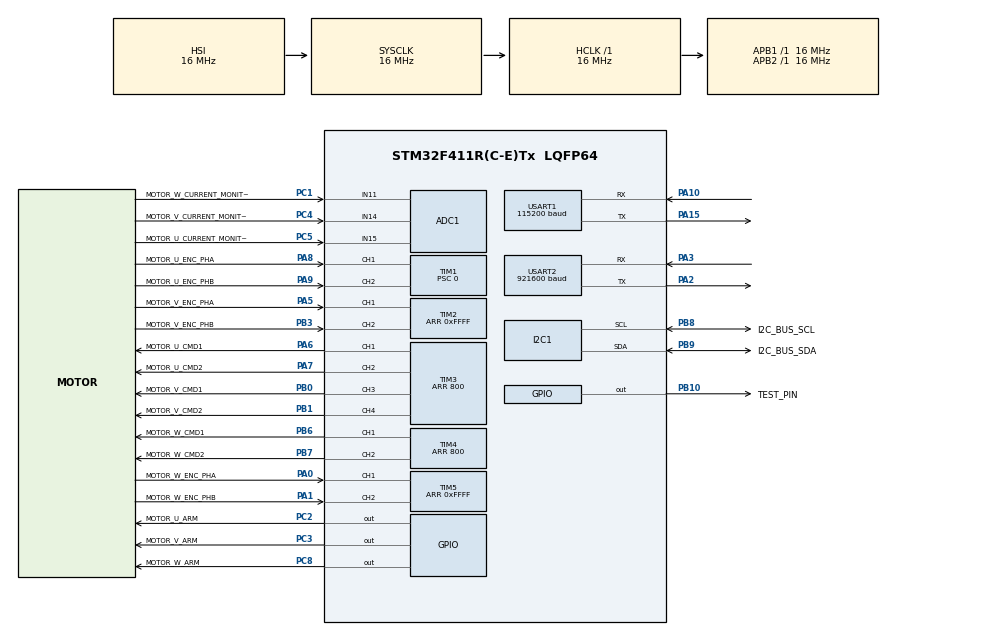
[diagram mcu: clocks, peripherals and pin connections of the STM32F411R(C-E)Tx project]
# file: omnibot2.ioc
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ADC1.Channel-3\#ChannelRegularConversion=ADC_CHANNEL_11
ADC1.Channel-4\#ChannelRegularConversion=ADC_CHANNEL_14
ADC1.Channel-5\#ChannelRegularConversion=ADC_CHANNEL_15
ADC1.DiscontinuousConvMode=ENABLE
ADC1.EnableAnalogWatchDog=true
ADC1.HighThreshold=4095
ADC1.ITMode=ENABLE
ADC1.NbrOfConversion=3
ADC1.NbrOfConversionFlag=1
ADC1.Rank-3\#ChannelRegularConversion=1
ADC1.Rank-4\#ChannelRegularConversion=2
ADC1.Rank-5\#ChannelRegularConversion=3
ADC1.SamplingTime-3\#ChannelRegularConversion=ADC_SAMPLETIME_3CYCLES
ADC1.SamplingTime-4\#ChannelRegularConversion=ADC_SAMPLETIME_3CYCLES
ADC1.SamplingTime-5\#ChannelRegularConversion=ADC_SAMPLETIME_3CYCLES
ADC1.ScanConvMode=ENABLE
ADC1.WatchdogMode=ADC_ANALOGWATCHDOG_ALL_REG
ADC1.master=1
Dma.I2C1_RX.2.Direction=DMA_PERIPH_TO_MEMORY
Dma.I2C1_RX.2.FIFOMode=DMA_FIFOMODE_DISABLE
Dma.I2C1_RX.2.Instance=DMA1_Stream0
Dma.I2C1_RX.2.MemDataAlignment=DMA_MDATAALIGN_BYTE
Dma.I2C1_RX.2.MemInc=DMA_MINC_ENABLE
Dma.I2C1_RX.2.Mode=DMA_CIRCULAR
Dma.I2C1_RX.2.PeriphDataAlignment=DMA_PDATAALIGN_BYTE
Dma.I2C1_RX.2.PeriphInc=DMA_PINC_DISABLE
Dma.I2C1_RX.2.Priority=DMA_PRIORITY_LOW
Dma.Request0=USART1_RX
Dma.Request1=USART2_RX
Dma.Request2=I2C1_RX
Dma.USART1_RX.0.Direction=DMA_PERIPH_TO_MEMORY
Dma.USART1_RX.0.FIFOMode=DMA_FIFOMODE_DISABLE
Dma.USART1_RX.0.Instance=DMA2_Stream2
Dma.USART1_RX.0.MemDataAlignment=DMA_MDATAALIGN_BYTE
Dma.USART1_RX.0.MemInc=DMA_MINC_ENABLE
Dma.USART1_RX.0.Mode=DMA_CIRCULAR
Dma.USART1_RX.0.PeriphDataAlignment=DMA_PDATAALIGN_BYTE
Dma.USART1_RX.0.PeriphInc=DMA_PINC_DISABLE
Dma.USART1_RX.0.Priority=DMA_PRIORITY_LOW
Dma.USART2_RX.1.Direction=DMA_PERIPH_TO_MEMORY
Dma.USART2_RX.1.FIFOMode=DMA_FIFOMODE_DISABLE
Dma.USART2_RX.1.Instance=DMA1_Stream5
Dma.USART2_RX.1.MemDataAlignment=DMA_MDATAALIGN_BYTE
Dma.USART2_RX.1.MemInc=DMA_MINC_ENABLE
Dma.USART2_RX.1.Mode=DMA_CIRCULAR
Dma.USART2_RX.1.PeriphDataAlignment=DMA_PDATAALIGN_BYTE
Dma.USART2_RX.1.PeriphInc=DMA_PINC_DISABLE
Dma.USART2_RX.1.Priority=DMA_PRIORITY_LOW
I2C1.DualAddressMode=I2C_DUALADDRESS_ENABLE
I2C1.OwnAddress=0x0A
I2C1.OwnAddress2=0x1A
Mcu.Family=STM32F4
Mcu.Name=STM32F411R(C-E)Tx
Mcu.Package=LQFP64
NVIC.ADC_IRQn=true\:0\:0\:false\:false\:true\:true\:true
NVIC.DMA1_Stream0_IRQn=true\:0\:0\:false\:false\:true\:false\:true
NVIC.DMA1_Stream5_IRQn=true\:0\:0\:false\:false\:true\:false\:true
NVIC.DMA2_Stream2_IRQn=true\:0\:0\:false\:false\:true\:false\:true
NVIC.PriorityGroup=NVIC_PRIORITYGROUP_4
NVIC.TIM1_BRK_TIM9_IRQn=true\:0\:0\:false\:false\:true\:true\:true
NVIC.TIM1_CC_IRQn=true\:0\:0\:false\:false\:true\:true\:true
NVIC.TIM1_TRG_COM_TIM11_IRQn=true\:0\:0\:false\:false\:true\:true\:true
NVIC.USART1_IRQn=true\:0\:0\:false\:false\:true\:true\:true
NVIC.USART2_IRQn=true\:0\:0\:false\:false\:true\:true\:true
PA0-WKUP.GPIO_Label=MOTOR_W_ENC_PHA
PA0-WKUP.GPIO_PuPd=GPIO_PULLUP
PA0-WKUP.Signal=S_TIM5_CH1
PA1.GPIO_Label=MOTOR_W_ENC_PHB
PA1.GPIO_PuPd=GPIO_PULLUP
PA1.Signal=S_TIM5_CH2
PA10.Mode=Asynchronous
PA10.Signal=USART1_RX
PA15.Mode=Asynchronous
PA15.Signal=USART1_TX
PA2.Mode=Asynchronous
PA2.Signal=USART2_TX
PA3.Mode=Asynchronous
PA3.Signal=USART2_RX
PA5.GPIO_Label=MOTOR_V_ENC_PHA
PA5.GPIO_PuPd=GPIO_PULLUP
PA5.Signal=S_TIM2_CH1_ETR
PA6.GPIO_Label=MOTOR_U_CMD1
PA6.Signal=S_TIM3_CH1
PA7.GPIO_Label=MOTOR_U_CMD2
PA7.Signal=S_TIM3_CH2
PA8.GPIO_Label=MOTOR_U_ENC_PHA
PA8.GPIO_PuPd=GPIO_PULLUP
PA8.Signal=S_TIM1_CH1
PA9.GPIO_Label=MOTOR_U_ENC_PHB
PA9.GPIO_PuPd=GPIO_PULLUP
PA9.Signal=S_TIM1_CH2
PB0.GPIO_Label=MOTOR_V_CMD1
PB0.Signal=S_TIM3_CH3
PB1.GPIO_Label=MOTOR_V_CMD2
PB1.Signal=S_TIM3_CH4
PB10.GPIO_Label=TEST_PIN
PB10.Signal=GPIO_Output
PB3.GPIO_Label=MOTOR_V_ENC_PHB
PB3.GPIO_PuPd=GPIO_PULLUP
PB3.Signal=S_TIM2_CH2
PB6.GPIO_Label=MOTOR_W_CMD1
PB6.Signal=S_TIM4_CH1
PB7.GPIO_Label=MOTOR_W_CMD2
PB7.Signal=S_TIM4_CH2
PB8.GPIO_Label=I2C_BUS_SCL
PB8.GPIO_PuPdOD=GPIO_PULLUP
PB8.GPIO_Speed=GPIO_SPEED_FREQ_HIGH
PB8.Mode=I2C
PB8.Signal=I2C1_SCL
PB9.GPIO_Label=I2C_BUS_SDA
PB9.GPIO_PuPdOD=GPIO_PULLUP
PB9.GPIO_Speed=GPIO_SPEED_FREQ_HIGH
PB9.Mode=I2C
PB9.Signal=I2C1_SDA
PC1.GPIO_Label=MOTOR_W_CURRENT_MONITOR
PC1.Signal=ADCx_IN11
PC10.GPIO_Label=PRIMARY_SPI_BUS_CLK
PC10.GPIO_Speed=GPIO_SPEED_FREQ_HIGH
PC10.Signal=SPI3_SCK
PC11.GPIO_Label=PRIMARY_SPI_BUS_MISO
PC11.GPIO_Speed=GPIO_SPEED_FREQ_HIGH
PC11.Signal=SPI3_MISO
PC12.GPIO_Label=PRIMARY_SPI_BUS_MOSI
PC12.GPIO_Speed=GPIO_SPEED_FREQ_HIGH
PC12.Signal=SPI3_MOSI
PC2.GPIO_Label=MOTOR_U_ARM
PC2.Signal=GPIO_Output
PC3.GPIO_Label=MOTOR_V_ARM
PC3.Signal=GPIO_Output
PC4.GPIO_Label=MOTOR_V_CURRENT_MONITOR
PC4.Signal=ADCx_IN14
PC5.GPIO_Label=MOTOR_U_CURRENT_MONITOR
PC5.Signal=ADCx_IN15
PC8.GPIO_Label=MOTOR_W_ARM
PC8.Signal=GPIO_Output
ProjectManager.HeapSize=0x200
ProjectManager.StackSize=0x400
ProjectManager.TargetToolchain=STM32CubeIDE
RCC.AHBFreq_Value=16000000
RCC.APB1Freq_Value=16000000
RCC.APB2Freq_Value=16000000
RCC.CortexFreq_Value=16000000
RCC.HSE_VALUE=25000000
RCC.HSI_VALUE=16000000
RCC.LSE_VALUE=32768
RCC.SYSCLKFreq_VALUE=16000000
RCC.VCOOutputFreq_Value=192000000
SH.ADCx_IN11.0=ADC1_IN11,IN11
SH.ADCx_IN14.0=ADC1_IN14,IN14
SH.ADCx_IN15.0=ADC1_IN15,IN15
SH.S_TIM1_CH1.0=TIM1_CH1,Encoder_Interface
SH.S_TIM1_CH2.0=TIM1_CH2,Encoder_Interface
SH.S_TIM2_CH1_ETR.0=TIM2_CH1,Encoder_Interface
SH.S_TIM2_CH2.0=TIM2_CH2,Encoder_Interface
SH.S_TIM3_CH1.0=TIM3_CH1,PWM Generation1 CH1
SH.S_TIM3_CH2.0=TIM3_CH2,PWM Generation2 CH2
SH.S_TIM3_CH3.0=TIM3_CH3,PWM Generation3 CH3
SH.S_TIM3_CH4.0=TIM3_CH4,PWM Generation4 CH4
SH.S_TIM4_CH1.0=TIM4_CH1,PWM Generation1 CH1
SH.S_TIM4_CH2.0=TIM4_CH2,PWM Generation2 CH2
SH.S_TIM5_CH1.0=TIM5_CH1,Encoder_Interface
SH.S_TIM5_CH2.0=TIM5_CH2,Encoder_Interface
TIM1.AutoReloadPreload=TIM_AUTORELOAD_PRELOAD_ENABLE
TIM1.EncoderMode=TIM_ENCODERMODE_TI12
TIM1.IC1Filter=10
TIM1.Period=0xFFFF
TIM1.Prescaler=0
TIM2.AutoReloadPreload=TIM_AUTORELOAD_PRELOAD_ENABLE
TIM2.EncoderMode=TIM_ENCODERMODE_TI12
TIM2.IC1Filter=10
TIM2.Period=0xFFFF
TIM3.AutoReloadPreload=TIM_AUTORELOAD_PRELOAD_ENABLE
TIM3.Channel-PWM\ Generation1\ CH1=TIM_CHANNEL_1
TIM3.Channel-PWM\ Generation2\ CH2=TIM_CHANNEL_2
TIM3.Channel-PWM\ Generation3\ CH3=TIM_CHANNEL_3
TIM3.Channel-PWM\ Generation4\ CH4=TIM_CHANNEL_4
TIM3.Period=800
TIM4.AutoReloadPreload=TIM_AUTORELOAD_PRELOAD_ENABLE
TIM4.Channel-PWM\ Generation1\ CH1=TIM_CHANNEL_1
TIM4.Channel-PWM\ Generation2\ CH2=TIM_CHANNEL_2
TIM4.Period=800
TIM5.AutoReloadPreload=TIM_AUTORELOAD_PRELOAD_ENABLE
TIM5.EncoderMode=TIM_ENCODERMODE_TI12
TIM5.IC1Filter=10
TIM5.IC2Filter=10
TIM5.Period=0xFFFF
TIM9.AutoReloadPreload=TIM_AUTORELOAD_PRELOAD_ENABLE
TIM9.Channel-PWM\ Generation1\ CH1=TIM_CHANNEL_1
TIM9.ClockDivision=TIM_CLOCKDIVISION_DIV1
TIM9.Period=50000
TIM9.Prescaler=4
USART1.BaudRate=115200
USART1.VirtualMode=VM_ASYNC
USART2.BaudRate=921600
USART2.OverSampling=UART_OVERSAMPLING_16
USART2.VirtualMode=VM_ASYNC
VP_TIM9_VS_ClockSourceINT.Mode=Internal
board=custom

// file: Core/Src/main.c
/* USER CODE BEGIN Header */
/**
  ******************************************************************************
  * @file           : main.c
  * @brief          : Main program body
  ******************************************************************************
  * @attention
  *
  * <h2><center>&copy; Copyright (c) 2020 STMicroelectronics.
  * All rights reserved.</center></h2>
  *
  * This software component is licensed by ST under BSD 3-Clause license,
  * the "License"; You may not use this file except in compliance with the
  * License. You may obtain a copy of the License at:
  *                        opensource.org/licenses/BSD-3-Clause
  *
  ******************************************************************************
  */
/* USER CODE END Header */

#include "main.h"

/* USER CODE BEGIN Includes */
#include <application.hpp>
#include <string.h>
/* USER CODE END Includes */

ADC_HandleTypeDef hadc1;

I2C_HandleTypeDef hi2c1;
DMA_HandleTypeDef hdma_i2c1_rx;

TIM_HandleTypeDef htim1;
TIM_HandleTypeDef htim2;
TIM_HandleTypeDef htim3;
TIM_HandleTypeDef htim4;
TIM_HandleTypeDef htim5;
TIM_HandleTypeDef htim9;

UART_HandleTypeDef huart1;
UART_HandleTypeDef huart2;
DMA_HandleTypeDef hdma_usart1_rx;
DMA_HandleTypeDef hdma_usart2_rx;

/* USER CODE BEGIN PV */
uint8_t sdata[SDATA_SIZE_BYTES];
uint8_t* const sdata_head = sdata;
ADC_AnalogWDGConfTypeDef AnalogWDGConfig;
/* USER CODE BEGIN PV */

/* USER CODE END PV */

void SystemClock_Config(void);
static void MX_GPIO_Init(void);
static void MX_DMA_Init(void);
static void MX_I2C1_Init(void);
static void MX_TIM1_Init(void);
static void MX_TIM2_Init(void);
static void MX_TIM3_Init(void);
static void MX_TIM5_Init(void);
static void MX_ADC1_Init(void);
static void MX_TIM9_Init(void);
static void MX_TIM4_Init(void);
static void MX_USART2_UART_Init(void);
static void MX_USART1_UART_Init(void);
/* USER CODE BEGIN PFP */
	uint32_t ADC_DATA[100];
    uint32_t value;
    uint32_t i = 0;
/* USER CODE END PFP */

/* USER CODE BEGIN 0 */
void HAL_UART_RxCpltCallback(UART_HandleTypeDef *huart) {
	if (huart->Instance == huart1.Instance) {
		dmaLink(UART1_DMA);
	}
	return;
}

void HAL_I2C_SlaveRxCpltCallback(I2C_HandleTypeDef *hi2c) {
	return;
}
void HAL_ADC_ConvCpltCallback(ADC_HandleTypeDef* hadc){
  //Do what you want on the adc
//     value++;
	ADC_DATA[i] = HAL_ADC_GetValue(&hadc1);
    i++;
}
void HAL_ADC_LevelOutOfWindowCallback(ADC_HandleTypeDef* hadc){
    value++;
}

/* USER CODE END 0 */

int main(void)
{

  /* MCU Configuration--------------------------------------------------------*/

  /* Reset of all peripherals, Initializes the Flash interface and the Systick. */
  HAL_Init();

  /* USER CODE BEGIN Init */
  HAL_ADC_AnalogWDGConfig(&hadc1, &AnalogWDGConfig);
  /* USER CODE END Init */

  /* Configure the system clock */
  SystemClock_Config();

  /* Initialize all configured peripherals */
  MX_GPIO_Init();
  MX_DMA_Init();
  MX_I2C1_Init();
  MX_TIM1_Init();
  MX_TIM2_Init();
  MX_TIM3_Init();
  MX_TIM5_Init();
  MX_ADC1_Init();
  MX_TIM9_Init();
  MX_TIM4_Init();
  MX_USART2_UART_Init();
  MX_USART1_UART_Init();
  /* USER CODE BEGIN 2 */

  setup();
  uint16_t cur_cntsA;
  uint16_t cur_cntsB;
  uint16_t cur_cntsC;

  /* USER CODE END 2 */

  /* Infinite loop */
  /* USER CODE BEGIN WHILE */
  while (1)
  {
		cur_cntsA = (MOTOR_U_ENC_TIM)->Instance->CNT & 0xFFFF;
		cur_cntsB = (MOTOR_V_ENC_TIM)->Instance->CNT & 0xFFFF;
		cur_cntsC = (MOTOR_W_ENC_TIM)->Instance->CNT & 0xFFFF;
		loop();
		HAL_ADC_Start_IT(&hadc1);
    /* USER CODE END WHILE */

  }
}

void SystemClock_Config(void)
{
  RCC_OscInitTypeDef RCC_OscInitStruct = {0};
  RCC_ClkInitTypeDef RCC_ClkInitStruct = {0};

  /** Configure the main internal regulator output voltage
  */
  __HAL_RCC_PWR_CLK_ENABLE();
  __HAL_PWR_VOLTAGESCALING_CONFIG(PWR_REGULATOR_VOLTAGE_SCALE1);
  /** Initializes the CPU, AHB and APB busses clocks
  */
  RCC_OscInitStruct.OscillatorType = RCC_OSCILLATORTYPE_HSI;
  RCC_OscInitStruct.HSIState = RCC_HSI_ON;
  RCC_OscInitStruct.HSICalibrationValue = RCC_HSICALIBRATION_DEFAULT;
  RCC_OscInitStruct.PLL.PLLState = RCC_PLL_NONE;
  if (HAL_RCC_OscConfig(&RCC_OscInitStruct) != HAL_OK)
  {
    Error_Handler();
  }
  /** Initializes the CPU, AHB and APB busses clocks
  */
  RCC_ClkInitStruct.ClockType = RCC_CLOCKTYPE_HCLK|RCC_CLOCKTYPE_SYSCLK
                              |RCC_CLOCKTYPE_PCLK1|RCC_CLOCKTYPE_PCLK2;
  RCC_ClkInitStruct.SYSCLKSource = RCC_SYSCLKSOURCE_HSI;
  RCC_ClkInitStruct.AHBCLKDivider = RCC_SYSCLK_DIV1;
  RCC_ClkInitStruct.APB1CLKDivider = RCC_HCLK_DIV1;
  RCC_ClkInitStruct.APB2CLKDivider = RCC_HCLK_DIV1;

  if (HAL_RCC_ClockConfig(&RCC_ClkInitStruct, FLASH_LATENCY_0) != HAL_OK)
  {
    Error_Handler();
  }
}

static void MX_ADC1_Init(void)
{

  ADC_AnalogWDGConfTypeDef AnalogWDGConfig = {0};
  ADC_ChannelConfTypeDef sConfig = {0};

  /** Configure the global features of the ADC (Clock, Resolution, Data Alignment and number of conversion)
  */
  hadc1.Instance = ADC1;
  hadc1.Init.ClockPrescaler = ADC_CLOCK_SYNC_PCLK_DIV2;
  hadc1.Init.Resolution = ADC_RESOLUTION_12B;
  hadc1.Init.ScanConvMode = ENABLE;
  hadc1.Init.ContinuousConvMode = DISABLE;
  hadc1.Init.DiscontinuousConvMode = ENABLE;
  hadc1.Init.NbrOfDiscConversion = 1;
  hadc1.Init.ExternalTrigConvEdge = ADC_EXTERNALTRIGCONVEDGE_NONE;
  hadc1.Init.ExternalTrigConv = ADC_SOFTWARE_START;
  hadc1.Init.DataAlign = ADC_DATAALIGN_RIGHT;
  hadc1.Init.NbrOfConversion = 3;
  hadc1.Init.DMAContinuousRequests = DISABLE;
  hadc1.Init.EOCSelection = ADC_EOC_SINGLE_CONV;
  if (HAL_ADC_Init(&hadc1) != HAL_OK)
  {
    Error_Handler();
  }
  /** Configure the analog watchdog
  */
  AnalogWDGConfig.WatchdogMode = ADC_ANALOGWATCHDOG_ALL_REG;
  AnalogWDGConfig.HighThreshold = 4095;
  AnalogWDGConfig.LowThreshold = 0;
  AnalogWDGConfig.ITMode = ENABLE;
  if (HAL_ADC_AnalogWDGConfig(&hadc1, &AnalogWDGConfig) != HAL_OK)
  {
    Error_Handler();
  }
  /** Configure for the selected ADC regular channel its corresponding rank in the sequencer and its sample time.
  */
  sConfig.Channel = ADC_CHANNEL_11;
  sConfig.Rank = 1;
  sConfig.SamplingTime = ADC_SAMPLETIME_3CYCLES;
  if (HAL_ADC_ConfigChannel(&hadc1, &sConfig) != HAL_OK)
  {
    Error_Handler();
  }
  /** Configure for the selected ADC regular channel its corresponding rank in the sequencer and its sample time.
  */
  sConfig.Channel = ADC_CHANNEL_14;
  sConfig.Rank = 2;
  if (HAL_ADC_ConfigChannel(&hadc1, &sConfig) != HAL_OK)
  {
    Error_Handler();
  }
  /** Configure for the selected ADC regular channel its corresponding rank in the sequencer and its sample time.
  */
  sConfig.Channel = ADC_CHANNEL_15;
  sConfig.Rank = 3;
  if (HAL_ADC_ConfigChannel(&hadc1, &sConfig) != HAL_OK)
  {
    Error_Handler();
  }

}

static void MX_I2C1_Init(void)
{

  hi2c1.Instance = I2C1;
  hi2c1.Init.ClockSpeed = 100000;
  hi2c1.Init.DutyCycle = I2C_DUTYCYCLE_2;
  hi2c1.Init.OwnAddress1 = 20;
  hi2c1.Init.AddressingMode = I2C_ADDRESSINGMODE_7BIT;
  hi2c1.Init.DualAddressMode = I2C_DUALADDRESS_ENABLE;
  hi2c1.Init.OwnAddress2 = 52;
  hi2c1.Init.GeneralCallMode = I2C_GENERALCALL_DISABLE;
  hi2c1.Init.NoStretchMode = I2C_NOSTRETCH_DISABLE;
  if (HAL_I2C_Init(&hi2c1) != HAL_OK)
  {
    Error_Handler();
  }
  /* USER CODE BEGIN I2C1_Init 2 */
  HAL_I2C_Slave_Receive_DMA(&hi2c1, &sdata, SDATA_SIZE_BYTES);
  /* USER CODE END I2C1_Init 2 */

}

static void MX_TIM1_Init(void)
{

  TIM_Encoder_InitTypeDef sConfig = {0};
  TIM_MasterConfigTypeDef sMasterConfig = {0};

  htim1.Instance = TIM1;
  htim1.Init.Prescaler = 0;
  htim1.Init.CounterMode = TIM_COUNTERMODE_UP;
  htim1.Init.Period = 0xFFFF;
  htim1.Init.ClockDivision = TIM_CLOCKDIVISION_DIV1;
  htim1.Init.RepetitionCounter = 0;
  htim1.Init.AutoReloadPreload = TIM_AUTORELOAD_PRELOAD_ENABLE;
  sConfig.EncoderMode = TIM_ENCODERMODE_TI12;
  sConfig.IC1Polarity = TIM_ICPOLARITY_RISING;
  sConfig.IC1Selection = TIM_ICSELECTION_DIRECTTI;
  sConfig.IC1Prescaler = TIM_ICPSC_DIV1;
  sConfig.IC1Filter = 10;
  sConfig.IC2Polarity = TIM_ICPOLARITY_RISING;
  sConfig.IC2Selection = TIM_ICSELECTION_DIRECTTI;
  sConfig.IC2Prescaler = TIM_ICPSC_DIV1;
  sConfig.IC2Filter = 0;
  if (HAL_TIM_Encoder_Init(&htim1, &sConfig) != HAL_OK)
  {
    Error_Handler();
  }
  sMasterConfig.MasterOutputTrigger = TIM_TRGO_RESET;
  sMasterConfig.MasterSlaveMode = TIM_MASTERSLAVEMODE_DISABLE;
  if (HAL_TIMEx_MasterConfigSynchronization(&htim1, &sMasterConfig) != HAL_OK)
  {
    Error_Handler();
  }

}

static void MX_TIM2_Init(void)
{

  TIM_Encoder_InitTypeDef sConfig = {0};
  TIM_MasterConfigTypeDef sMasterConfig = {0};

  htim2.Instance = TIM2;
  htim2.Init.Prescaler = 0;
  htim2.Init.CounterMode = TIM_COUNTERMODE_UP;
  htim2.Init.Period = 0xFFFF;
  htim2.Init.ClockDivision = TIM_CLOCKDIVISION_DIV1;
  htim2.Init.AutoReloadPreload = TIM_AUTORELOAD_PRELOAD_ENABLE;
  sConfig.EncoderMode = TIM_ENCODERMODE_TI12;
  sConfig.IC1Polarity = TIM_ICPOLARITY_RISING;
  sConfig.IC1Selection = TIM_ICSELECTION_DIRECTTI;
  sConfig.IC1Prescaler = TIM_ICPSC_DIV1;
  sConfig.IC1Filter = 10;
  sConfig.IC2Polarity = TIM_ICPOLARITY_RISING;
  sConfig.IC2Selection = TIM_ICSELECTION_DIRECTTI;
  sConfig.IC2Prescaler = TIM_ICPSC_DIV1;
  sConfig.IC2Filter = 0;
  if (HAL_TIM_Encoder_Init(&htim2, &sConfig) != HAL_OK)
  {
    Error_Handler();
  }
  sMasterConfig.MasterOutputTrigger = TIM_TRGO_RESET;
  sMasterConfig.MasterSlaveMode = TIM_MASTERSLAVEMODE_DISABLE;
  if (HAL_TIMEx_MasterConfigSynchronization(&htim2, &sMasterConfig) != HAL_OK)
  {
    Error_Handler();
  }

}

static void MX_TIM3_Init(void)
{

  TIM_MasterConfigTypeDef sMasterConfig = {0};
  TIM_OC_InitTypeDef sConfigOC = {0};

  htim3.Instance = TIM3;
  htim3.Init.Prescaler = 0;
  htim3.Init.CounterMode = TIM_COUNTERMODE_UP;
  htim3.Init.Period = 800;
  htim3.Init.ClockDivision = TIM_CLOCKDIVISION_DIV1;
  htim3.Init.AutoReloadPreload = TIM_AUTORELOAD_PRELOAD_ENABLE;
  if (HAL_TIM_PWM_Init(&htim3) != HAL_OK)
  {
    Error_Handler();
  }
  sMasterConfig.MasterOutputTrigger = TIM_TRGO_RESET;
  sMasterConfig.MasterSlaveMode = TIM_MASTERSLAVEMODE_DISABLE;
  if (HAL_TIMEx_MasterConfigSynchronization(&htim3, &sMasterConfig) != HAL_OK)
  {
    Error_Handler();
  }
  sConfigOC.OCMode = TIM_OCMODE_PWM1;
  sConfigOC.Pulse = 0;
  sConfigOC.OCPolarity = TIM_OCPOLARITY_HIGH;
  sConfigOC.OCFastMode = TIM_OCFAST_DISABLE;
  if (HAL_TIM_PWM_ConfigChannel(&htim3, &sConfigOC, TIM_CHANNEL_1) != HAL_OK)
  {
    Error_Handler();
  }
  if (HAL_TIM_PWM_ConfigChannel(&htim3, &sConfigOC, TIM_CHANNEL_2) != HAL_OK)
  {
    Error_Handler();
  }
  if (HAL_TIM_PWM_ConfigChannel(&htim3, &sConfigOC, TIM_CHANNEL_3) != HAL_OK)
  {
    Error_Handler();
  }
  if (HAL_TIM_PWM_ConfigChannel(&htim3, &sConfigOC, TIM_CHANNEL_4) != HAL_OK)
  {
    Error_Handler();
  }
  HAL_TIM_MspPostInit(&htim3);

}

static void MX_TIM4_Init(void)
{

  TIM_MasterConfigTypeDef sMasterConfig = {0};
  TIM_OC_InitTypeDef sConfigOC = {0};

  htim4.Instance = TIM4;
  htim4.Init.Prescaler = 0;
  htim4.Init.CounterMode = TIM_COUNTERMODE_UP;
  htim4.Init.Period = 800;
  htim4.Init.ClockDivision = TIM_CLOCKDIVISION_DIV1;
  htim4.Init.AutoReloadPreload = TIM_AUTORELOAD_PRELOAD_ENABLE;
  if (HAL_TIM_PWM_Init(&htim4) != HAL_OK)
  {
    Error_Handler();
  }
  sMasterConfig.MasterOutputTrigger = TIM_TRGO_RESET;
  sMasterConfig.MasterSlaveMode = TIM_MASTERSLAVEMODE_DISABLE;
  if (HAL_TIMEx_MasterConfigSynchronization(&htim4, &sMasterConfig) != HAL_OK)
  {
    Error_Handler();
  }
  sConfigOC.OCMode = TIM_OCMODE_PWM1;
  sConfigOC.Pulse = 0;
  sConfigOC.OCPolarity = TIM_OCPOLARITY_HIGH;
  sConfigOC.OCFastMode = TIM_OCFAST_DISABLE;
  if (HAL_TIM_PWM_ConfigChannel(&htim4, &sConfigOC, TIM_CHANNEL_1) != HAL_OK)
  {
    Error_Handler();
  }
  if (HAL_TIM_PWM_ConfigChannel(&htim4, &sConfigOC, TIM_CHANNEL_2) != HAL_OK)
  {
    Error_Handler();
  }
  HAL_TIM_MspPostInit(&htim4);

}

static void MX_TIM5_Init(void)
{

  TIM_Encoder_InitTypeDef sConfig = {0};
  TIM_MasterConfigTypeDef sMasterConfig = {0};

  htim5.Instance = TIM5;
  htim5.Init.Prescaler = 0;
  htim5.Init.CounterMode = TIM_COUNTERMODE_UP;
  htim5.Init.Period = 0xFFFF;
  htim5.Init.ClockDivision = TIM_CLOCKDIVISION_DIV1;
  htim5.Init.AutoReloadPreload = TIM_AUTORELOAD_PRELOAD_ENABLE;
  sConfig.EncoderMode = TIM_ENCODERMODE_TI12;
  sConfig.IC1Polarity = TIM_ICPOLARITY_RISING;
  sConfig.IC1Selection = TIM_ICSELECTION_DIRECTTI;
  sConfig.IC1Prescaler = TIM_ICPSC_DIV1;
  sConfig.IC1Filter = 10;
  sConfig.IC2Polarity = TIM_ICPOLARITY_RISING;
  sConfig.IC2Selection = TIM_ICSELECTION_DIRECTTI;
  sConfig.IC2Prescaler = TIM_ICPSC_DIV1;
  sConfig.IC2Filter = 10;
  if (HAL_TIM_Encoder_Init(&htim5, &sConfig) != HAL_OK)
  {
    Error_Handler();
  }
  sMasterConfig.MasterOutputTrigger = TIM_TRGO_RESET;
  sMasterConfig.MasterSlaveMode = TIM_MASTERSLAVEMODE_DISABLE;
  if (HAL_TIMEx_MasterConfigSynchronization(&htim5, &sMasterConfig) != HAL_OK)
  {
    Error_Handler();
  }

}

static void MX_TIM9_Init(void)
{

  TIM_ClockConfigTypeDef sClockSourceConfig = {0};

  htim9.Instance = TIM9;
  htim9.Init.Prescaler = 4;
  htim9.Init.CounterMode = TIM_COUNTERMODE_UP;
  htim9.Init.Period = 50000;
  htim9.Init.ClockDivision = TIM_CLOCKDIVISION_DIV1;
  htim9.Init.AutoReloadPreload = TIM_AUTORELOAD_PRELOAD_ENABLE;
  if (HAL_TIM_Base_Init(&htim9) != HAL_OK)
  {
    Error_Handler();
  }
  sClockSourceConfig.ClockSource = TIM_CLOCKSOURCE_INTERNAL;
  if (HAL_TIM_ConfigClockSource(&htim9, &sClockSourceConfig) != HAL_OK)
  {
    Error_Handler();
  }

}

static void MX_USART1_UART_Init(void)
{

  huart1.Instance = USART1;
  huart1.Init.BaudRate = 115200;
  huart1.Init.WordLength = UART_WORDLENGTH_8B;
  huart1.Init.StopBits = UART_STOPBITS_1;
  huart1.Init.Parity = UART_PARITY_NONE;
  huart1.Init.Mode = UART_MODE_TX_RX;
  huart1.Init.HwFlowCtl = UART_HWCONTROL_NONE;
  huart1.Init.OverSampling = UART_OVERSAMPLING_16;
  if (HAL_UART_Init(&huart1) != HAL_OK)
  {
    Error_Handler();
  }
  /* USER CODE BEGIN USART1_Init 2 */
  HAL_UART_Receive_DMA(&huart1, &sdata, SDATA_SIZE_BYTES);
  /* USER CODE END USART1_Init 2 */

}

static void MX_USART2_UART_Init(void)
{

  huart2.Instance = USART2;
  huart2.Init.BaudRate = 921600;
  huart2.Init.WordLength = UART_WORDLENGTH_8B;
  huart2.Init.StopBits = UART_STOPBITS_1;
  huart2.Init.Parity = UART_PARITY_NONE;
  huart2.Init.Mode = UART_MODE_TX_RX;
  huart2.Init.HwFlowCtl = UART_HWCONTROL_NONE;
  huart2.Init.OverSampling = UART_OVERSAMPLING_16;
  if (HAL_UART_Init(&huart2) != HAL_OK)
  {
    Error_Handler();
  }

}

static void MX_DMA_Init(void)
{

  /* DMA controller clock enable */
  __HAL_RCC_DMA2_CLK_ENABLE();
  __HAL_RCC_DMA1_CLK_ENABLE();

  /* DMA interrupt init */
  /* DMA1_Stream0_IRQn interrupt configuration */
  HAL_NVIC_SetPriority(DMA1_Stream0_IRQn, 0, 0);
  HAL_NVIC_EnableIRQ(DMA1_Stream0_IRQn);
  /* DMA1_Stream5_IRQn interrupt configuration */
  HAL_NVIC_SetPriority(DMA1_Stream5_IRQn, 0, 0);
  HAL_NVIC_EnableIRQ(DMA1_Stream5_IRQn);
  /* DMA2_Stream2_IRQn interrupt configuration */
  HAL_NVIC_SetPriority(DMA2_Stream2_IRQn, 0, 0);
  HAL_NVIC_EnableIRQ(DMA2_Stream2_IRQn);

}

static void MX_GPIO_Init(void)
{
  GPIO_InitTypeDef GPIO_InitStruct = {0};

  /* GPIO Ports Clock Enable */
  __HAL_RCC_GPIOC_CLK_ENABLE();
  __HAL_RCC_GPIOA_CLK_ENABLE();
  __HAL_RCC_GPIOB_CLK_ENABLE();

  /*Configure GPIO pin Output Level */
  HAL_GPIO_WritePin(GPIOC, MOTOR_U_ARM_Pin|MOTOR_V_ARM_Pin|MOTOR_W_ARM_Pin, GPIO_PIN_RESET);

  /*Configure GPIO pin Output Level */
  HAL_GPIO_WritePin(TEST_PIN_GPIO_Port, TEST_PIN_Pin, GPIO_PIN_RESET);

  /*Configure GPIO pins : MOTOR_U_ARM_Pin MOTOR_V_ARM_Pin MOTOR_W_ARM_Pin */
  GPIO_InitStruct.Pin = MOTOR_U_ARM_Pin|MOTOR_V_ARM_Pin|MOTOR_W_ARM_Pin;
  GPIO_InitStruct.Mode = GPIO_MODE_OUTPUT_PP;
  GPIO_InitStruct.Pull = GPIO_NOPULL;
  GPIO_InitStruct.Speed = GPIO_SPEED_FREQ_LOW;
  HAL_GPIO_Init(GPIOC, &GPIO_InitStruct);

  /*Configure GPIO pin : TEST_PIN_Pin */
  GPIO_InitStruct.Pin = TEST_PIN_Pin;
  GPIO_InitStruct.Mode = GPIO_MODE_OUTPUT_PP;
  GPIO_InitStruct.Pull = GPIO_NOPULL;
  GPIO_InitStruct.Speed = GPIO_SPEED_FREQ_LOW;
  HAL_GPIO_Init(TEST_PIN_GPIO_Port, &GPIO_InitStruct);

  /*Configure GPIO pins : PRIMARY_SPI_BUS_CLK_Pin PRIMARY_SPI_BUS_MISO_Pin PRIMARY_SPI_BUS_MOSI_Pin */
  GPIO_InitStruct.Pin = PRIMARY_SPI_BUS_CLK_Pin|PRIMARY_SPI_BUS_MISO_Pin|PRIMARY_SPI_BUS_MOSI_Pin;
  GPIO_InitStruct.Mode = GPIO_MODE_AF_PP;
  GPIO_InitStruct.Pull = GPIO_NOPULL;
  GPIO_InitStruct.Speed = GPIO_SPEED_FREQ_HIGH;
  GPIO_InitStruct.Alternate = GPIO_AF6_SPI3;
  HAL_GPIO_Init(GPIOC, &GPIO_InitStruct);

}

void Error_Handler(void)
{
}

/************************ (C) COPYRIGHT STMicroelectronics *****END OF FILE****/
